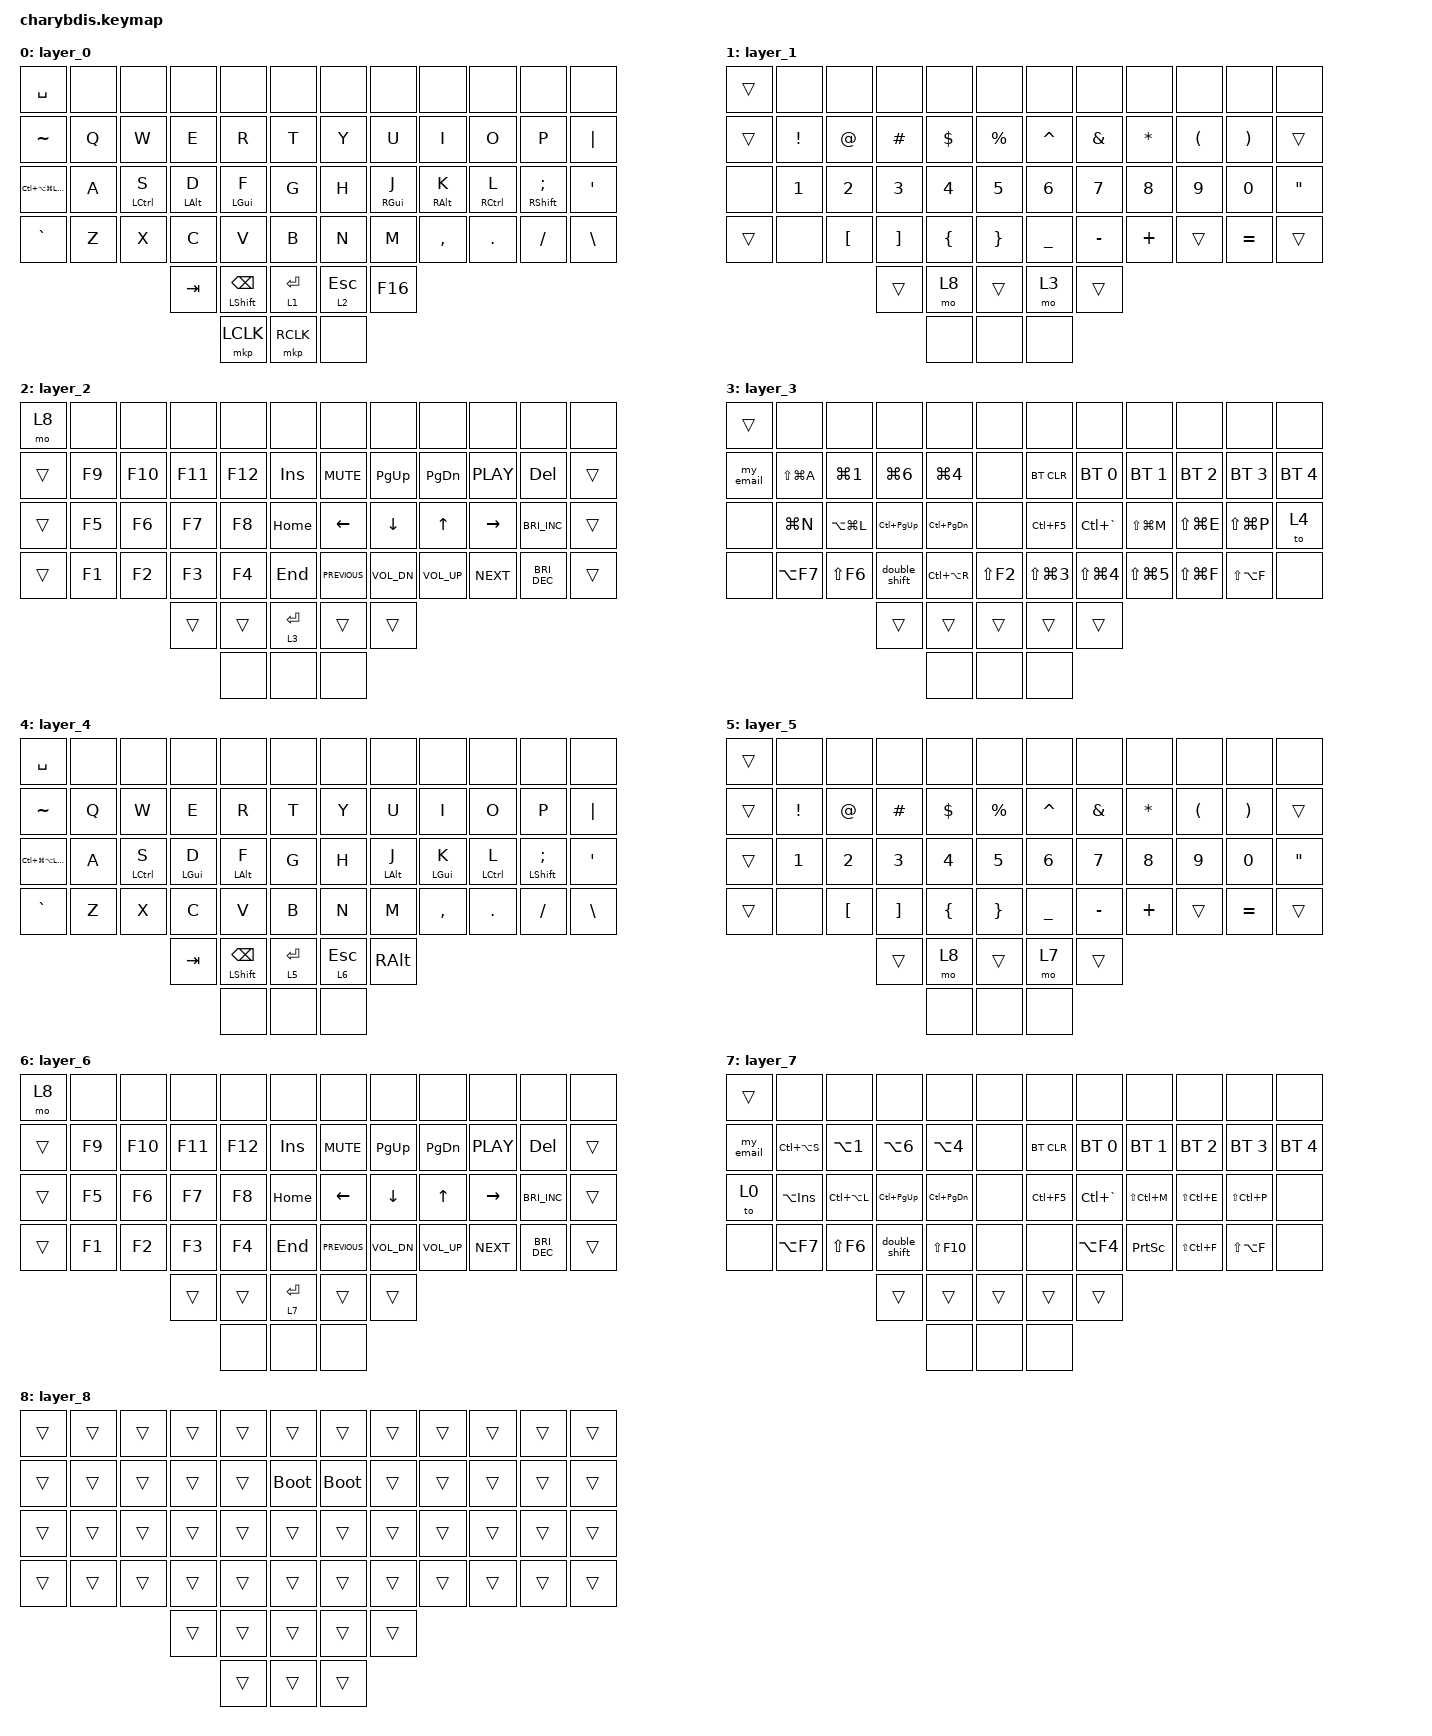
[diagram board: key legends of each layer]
#include <behaviors.dtsi>
#include <dt-bindings/zmk/bt.h>
#include <dt-bindings/zmk/keys.h>
#include <dt-bindings/zmk/pointing.h>

&lt { quick-tap-ms = <200>; };

/ {
    combos {
        compatible = "zmk,combos";

        less_then {
            bindings = <&kp LESS_THAN>;
            key-positions = <43 44>;
            timeout-ms = <60>;
            layers = <0 1 4 5>;
        };

        greater_then {
            bindings = <&kp GREATER_THAN>;
            key-positions = <44 45>;
            timeout-ms = <60>;
            layers = <0 1 4 5>;
        };

        mac_undo {
            bindings = <&kp LG(Z)>;
            key-positions = <37 38>;
            timeout-ms = <60>;
            layers = <0>;
        };

        mac_cut {
            bindings = <&kp LG(X)>;
            key-positions = <40 38>;
            timeout-ms = <60>;
            layers = <0>;
        };

        mac_copy {
            bindings = <&kp LG(C)>;
            key-positions = <38 39>;
            timeout-ms = <60>;
            layers = <0>;
        };

        mac_paste {
            bindings = <&kp LG(V)>;
            key-positions = <40 39>;
            timeout-ms = <60>;
            layers = <0>;
        };

        win_undo {
            bindings = <&kp LC(Z)>;
            key-positions = <37 38>;
            timeout-ms = <60>;
            layers = <4>;
        };

        win_copy {
            bindings = <&kp LC(C)>;
            key-positions = <38 39>;
            timeout-ms = <60>;
            layers = <4>;
        };

        win_paste {
            bindings = <&kp LC(V)>;
            key-positions = <40 39>;
            timeout-ms = <60>;
            layers = <4>;
        };

        jk_ctrl_y {
            bindings = <&kp LC(Y)>;
            key-positions = <31 32>;
        };
    };

    macros {
        my_email: my_email {
            compatible = "zmk,behavior-macro";
            #binding-cells = <0>;
            bindings = <&kp B &kp L &kp A &kp C &kp K &kp E &kp A &kp G &kp L &kp E &kp N1 &kp N0 &kp AT &kp I &kp C &kp L &kp O &kp U &kp D &kp DOT &kp C &kp O &kp M>;
            label = "MY_EMAIL";
        };

        double_shift: double_shift {
            compatible = "zmk,behavior-macro";
            #binding-cells = <0>;
            bindings = <&kp LEFT_SHIFT &kp LEFT_SHIFT>;
            label = "DOUBLE_SHIFT";
        };
    };

    behaviors {
        new_mt: new_mt {
            compatible = "zmk,behavior-hold-tap";
            label = "NEW_MT";
            bindings = <&kp>, <&kp>;

            #binding-cells = <2>;
            tapping-term-ms = <200>;
            quick-tap-ms = <200>;
            flavor = "hold-preferred";
        };

        new_lt: new_lt {
            compatible = "zmk,behavior-hold-tap";
            label = "NEW_LT";
            bindings = <&mo>, <&kp>;

            #binding-cells = <2>;
            tapping-term-ms = <200>;
            flavor = "hold-preferred";
        };

        left_hrm: left_hrm {
            compatible = "zmk,behavior-hold-tap";
            label = "LEFT_HRM";
            bindings = <&kp>, <&kp>;

            #binding-cells = <2>;
            tapping-term-ms = <200>;
            flavor = "balanced";
            hold-trigger-key-positions = <28 27 26 25 48 49 50 18 19 20 21 22 23 30 31 32 33 34 35 42 43 44 45 46 47 51 52 0>;
            quick-tap-ms = <200>;
        };

        right_hrm: right_hrm {
            compatible = "zmk,behavior-hold-tap";
            label = "RIGHT_HRM";
            bindings = <&kp>, <&kp>;

            #binding-cells = <2>;
            tapping-term-ms = <200>;
            flavor = "balanced";
            hold-trigger-key-positions = <12 13 14 15 16 17 24 25 26 27 28 29 36 37 38 39 40 41 48 49 50 31 32 33 34 52 51 0>;
            quick-tap-ms = <200>;
        };
    };

    keymap {
        compatible = "zmk,keymap";

        layer_0 {
            bindings = <
&kp SPACE                   &none  &none                     &none                 &none                         &none              &none             &none                   &none                   &none                       &none                             &none
&kp TILDE                   &kp Q  &kp W                     &kp E                 &kp R                         &kp T              &kp Y             &kp U                   &kp I                   &kp O                       &kp P                             &kp PIPE
&kp LC(LA(LG(LEFT_SHIFT)))  &kp A  &left_hrm LEFT_CONTROL S  &left_hrm LEFT_ALT D  &left_hrm LEFT_GUI F          &kp G              &kp H             &right_hrm RIGHT_GUI J  &right_hrm RIGHT_ALT K  &right_hrm RIGHT_CONTROL L  &right_hrm RIGHT_SHIFT SEMICOLON  &kp APOS
&kp GRAVE                   &kp Z  &kp X                     &kp C                 &kp V                         &kp B              &kp N             &kp M                   &kp COMMA               &kp DOT                     &kp SLASH                         &kp BACKSLASH
                                                             &kp TAB               &new_mt LEFT_SHIFT BACKSPACE  &new_lt 1 ENTER    &new_lt 2 ESCAPE  &kp F16
                                                                                   &mkp LCLK                     &mkp RCLK          &none
            >;

            trackball-bindings = <&tmv_coarse>;
        };

        layer_1 {
            bindings = <
&trans  &none            &none             &none              &none           &none              &none      &none          &none         &none                 &none                  &none
&trans  &kp EXCLAMATION  &kp AT            &kp HASH           &kp DOLLAR      &kp PERCENT        &kp CARET  &kp AMPERSAND  &kp ASTERISK  &kp LEFT_PARENTHESIS  &kp RIGHT_PARENTHESIS  &trans
&none   &kp N1           &kp N2            &kp N3             &kp N4          &kp N5             &kp N6     &kp N7         &kp N8        &kp N9                &kp N0                 &kp DOUBLE_QUOTES
&trans  &none            &kp LEFT_BRACKET  &kp RIGHT_BRACKET  &kp LEFT_BRACE  &kp RIGHT_BRACE    &kp UNDER  &kp MINUS      &kp PLUS      &trans                &kp EQUAL              &trans
                                           &trans             &mo 8           &trans             &mo 3      &trans
                                                              &none           &none              &none
            >;
        };

        layer_2 {
            bindings = <
&mo 8   &none   &none    &none    &none    &none          &none           &none           &none            &none            &none                 &none
&trans  &kp F9  &kp F10  &kp F11  &kp F12  &kp INSERT     &kp C_MUTE      &kp PAGE_UP     &kp PAGE_DOWN    &kp C_PLAY       &kp DELETE            &trans
&trans  &kp F5  &kp F6   &kp F7   &kp F8   &kp HOME       &kp LEFT_ARROW  &kp DOWN_ARROW  &kp UP           &kp RIGHT_ARROW  &kp C_BRIGHTNESS_INC  &trans
&trans  &kp F1  &kp F2   &kp F3   &kp F4   &kp END        &kp C_PREVIOUS  &kp C_VOL_DN    &kp C_VOLUME_UP  &kp C_NEXT       &kp C_BRIGHTNESS_DEC  &trans
                         &trans   &trans   &lt 3 ENTER    &trans          &trans
                                  &none    &none          &none
            >;
        };

        layer_3 {
            bindings = <
&trans     &none          &none             &none             &none              &none         &none                 &none                 &none           &none          &none          &none
&my_email  &kp LS(LG(A))  &kp LG(NUMBER_1)  &kp LG(NUMBER_6)  &kp LG(N4)         &none         &bt BT_CLR            &bt BT_SEL 0          &bt BT_SEL 1    &bt BT_SEL 2   &bt BT_SEL 3   &bt BT_SEL 4
&none      &kp LG(N)      &kp LA(LG(L))     &kp LC(PAGE_UP)   &kp LC(PAGE_DOWN)  &none         &kp LC(F5)            &kp LC(GRAVE)         &kp LS(LG(M))   &kp LS(LG(E))  &kp LS(LG(P))  &to 4
&none      &kp LA(F7)     &kp LS(F6)        &double_shift     &kp LC(LA(R))      &kp LS(F2)    &kp LS(LG(NUMBER_3))  &kp LS(LG(NUMBER_4))  &kp LS(LG(N5))  &kp LS(LG(F))  &kp LS(LA(F))  &none
                                            &trans            &trans             &trans        &trans                &trans
                                                              &none              &none         &none
            >;
        };

        layer_4 {
            bindings = <
&kp SPACE                   &none  &none                     &none                 &none                         &none              &none             &none                  &none                  &none                      &none                            &none
&kp TILDE                   &kp Q  &kp W                     &kp E                 &kp R                         &kp T              &kp Y             &kp U                  &kp I                  &kp O                      &kp P                            &kp PIPE
&kp LC(LG(LA(LEFT_SHIFT)))  &kp A  &left_hrm LEFT_CONTROL S  &left_hrm LEFT_GUI D  &left_hrm LEFT_ALT F          &kp G              &kp H             &right_hrm LEFT_ALT J  &right_hrm LEFT_GUI K  &right_hrm LEFT_CONTROL L  &right_hrm LEFT_SHIFT SEMICOLON  &kp APOS
&kp GRAVE                   &kp Z  &kp X                     &kp C                 &kp V                         &kp B              &kp N             &kp M                  &kp COMMA              &kp DOT                    &kp SLASH                        &kp BACKSLASH
                                                             &kp TAB               &new_mt LEFT_SHIFT BACKSPACE  &new_lt 5 ENTER    &new_lt 6 ESCAPE  &kp RIGHT_ALT
                                                                                   &none                         &none              &none
            >;
        };

        layer_5 {
            bindings = <
&trans  &none            &none             &none              &none           &none              &none      &none          &none         &none                 &none                  &none
&trans  &kp EXCLAMATION  &kp AT            &kp HASH           &kp DOLLAR      &kp PERCENT        &kp CARET  &kp AMPERSAND  &kp ASTERISK  &kp LEFT_PARENTHESIS  &kp RIGHT_PARENTHESIS  &trans
&trans  &kp N1           &kp N2            &kp N3             &kp N4          &kp N5             &kp N6     &kp N7         &kp N8        &kp N9                &kp N0                 &kp DOUBLE_QUOTES
&trans  &none            &kp LEFT_BRACKET  &kp RIGHT_BRACKET  &kp LEFT_BRACE  &kp RIGHT_BRACE    &kp UNDER  &kp MINUS      &kp PLUS      &trans                &kp EQUAL              &trans
                                           &trans             &mo 8           &trans             &mo 7      &trans
                                                              &none           &none              &none
            >;
        };

        layer_6 {
            bindings = <
&mo 8   &none   &none    &none    &none    &none          &none           &none           &none            &none            &none                 &none
&trans  &kp F9  &kp F10  &kp F11  &kp F12  &kp INSERT     &kp C_MUTE      &kp PAGE_UP     &kp PAGE_DOWN    &kp C_PLAY       &kp DELETE            &trans
&trans  &kp F5  &kp F6   &kp F7   &kp F8   &kp HOME       &kp LEFT_ARROW  &kp DOWN_ARROW  &kp UP           &kp RIGHT_ARROW  &kp C_BRIGHTNESS_INC  &trans
&trans  &kp F1  &kp F2   &kp F3   &kp F4   &kp END        &kp C_PREVIOUS  &kp C_VOL_DN    &kp C_VOLUME_UP  &kp C_NEXT       &kp C_BRIGHTNESS_DEC  &trans
                         &trans   &trans   &lt 7 ENTER    &trans          &trans
                                  &none    &none          &none
            >;
        };

        layer_7 {
            bindings = <
&trans     &none           &none             &none             &none              &none     &none       &none          &none            &none          &none          &none
&my_email  &kp LC(LA(S))   &kp LA(NUMBER_1)  &kp LA(NUMBER_6)  &kp LA(N4)         &none     &bt BT_CLR  &bt BT_SEL 0   &bt BT_SEL 1     &bt BT_SEL 2   &bt BT_SEL 3   &bt BT_SEL 4
&to 0      &kp LA(INSERT)  &kp LC(LA(L))     &kp LC(PAGE_UP)   &kp LC(PAGE_DOWN)  &none     &kp LC(F5)  &kp LC(GRAVE)  &kp LS(LC(M))    &kp LS(LC(E))  &kp LS(LC(P))  &none
&none      &kp LA(F7)      &kp LS(F6)        &double_shift     &kp LS(F10)        &none     &none       &kp LA(F4)     &kp PRINTSCREEN  &kp LS(LC(F))  &kp LS(LA(F))  &none
                                             &trans            &trans             &trans    &trans      &trans
                                                               &none              &none     &none
            >;
        };

        layer_8 {
            bindings = <
&trans  &trans  &trans  &trans  &trans  &trans         &trans       &trans  &trans  &trans  &trans  &trans
&trans  &trans  &trans  &trans  &trans  &bootloader    &bootloader  &trans  &trans  &trans  &trans  &trans
&trans  &trans  &trans  &trans  &trans  &trans         &trans       &trans  &trans  &trans  &trans  &trans
&trans  &trans  &trans  &trans  &trans  &trans         &trans       &trans  &trans  &trans  &trans  &trans
                        &trans  &trans  &trans         &trans       &trans
                                &trans  &trans         &trans
            >;
        };
    };
};
